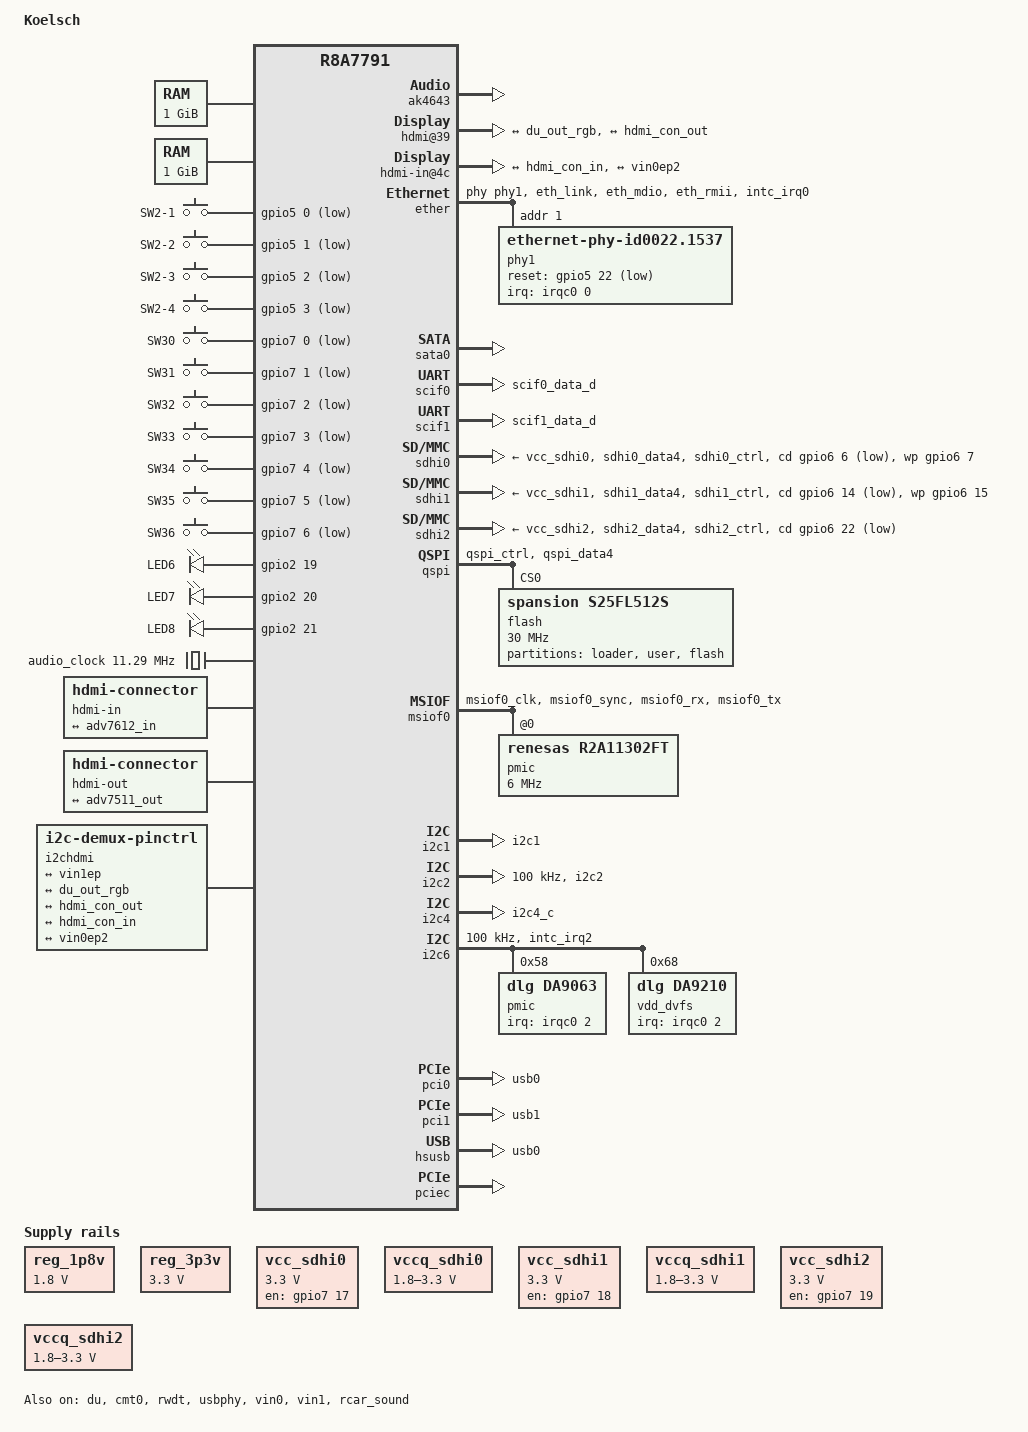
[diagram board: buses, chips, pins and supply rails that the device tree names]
// SPDX-License-Identifier: GPL-2.0
/*
 * Device Tree Source for the Koelsch board
 *
 * Copyright (C) 2013 Renesas Electronics Corporation
 * Copyright (C) 2013-2014 Renesas Solutions Corp.
 * Copyright (C) 2014 Cogent Embedded, Inc.
 */

/*
 * SSI-AK4643
 *
 * SW1: 1: AK4643
 *      2: CN22
 *      3: ADV7511
 *
 * This command is required when Playback/Capture
 *
 *	amixer set "LINEOUT Mixer DACL" on
 *	amixer set "DVC Out" 100%
 *	amixer set "DVC In" 100%
 *
 * You can use Mute
 *
 *	amixer set "DVC Out Mute" on
 *	amixer set "DVC In Mute" on
 *
 * You can use Volume Ramp
 *
 *	amixer set "DVC Out Ramp Up Rate"   "0.125 dB/64 steps"
 *	amixer set "DVC Out Ramp Down Rate" "0.125 dB/512 steps"
 *	amixer set "DVC Out Ramp" on
 *	aplay xxx.wav &
 *	amixer set "DVC Out"  80%  // Volume Down
 *	amixer set "DVC Out" 100%  // Volume Up
 */

/dts-v1/;
#include "r8a7791.dtsi"
#include <dt-bindings/gpio/gpio.h>
#include <dt-bindings/input/input.h>

/ {
	model = "Koelsch";
	compatible = "renesas,koelsch", "renesas,r8a7791";

	aliases {
		serial0 = &scif0;
		serial1 = &scif1;
		i2c9 = &gpioi2c1;
		i2c10 = &gpioi2c2;
		i2c11 = &gpioi2c4;
		i2c12 = &i2cexio1;
		i2c13 = &i2chdmi;
		i2c14 = &i2cexio4;
		mmc0 = &sdhi0;
		mmc1 = &sdhi1;
		mmc2 = &sdhi2;
	};

	chosen {
		bootargs = "ignore_loglevel rw root=/dev/nfs ip=on";
		stdout-path = "serial0:115200n8";
	};

	memory@40000000 {
		device_type = "memory";
		reg = <0 0x40000000 0 0x40000000>;
	};

	memory@200000000 {
		device_type = "memory";
		reg = <2 0x00000000 0 0x40000000>;
	};

	keyboard {
		compatible = "gpio-keys";

		pinctrl-0 = <&keyboard_pins>;
		pinctrl-names = "default";

		key-1 {
			gpios = <&gpio5 0 GPIO_ACTIVE_LOW>;
			linux,code = <KEY_1>;
			label = "SW2-1";
			wakeup-source;
			debounce-interval = <20>;
		};
		key-2 {
			gpios = <&gpio5 1 GPIO_ACTIVE_LOW>;
			linux,code = <KEY_2>;
			label = "SW2-2";
			wakeup-source;
			debounce-interval = <20>;
		};
		key-3 {
			gpios = <&gpio5 2 GPIO_ACTIVE_LOW>;
			linux,code = <KEY_3>;
			label = "SW2-3";
			wakeup-source;
			debounce-interval = <20>;
		};
		key-4 {
			gpios = <&gpio5 3 GPIO_ACTIVE_LOW>;
			linux,code = <KEY_4>;
			label = "SW2-4";
			wakeup-source;
			debounce-interval = <20>;
		};
		key-a {
			gpios = <&gpio7 0 GPIO_ACTIVE_LOW>;
			linux,code = <KEY_A>;
			label = "SW30";
			wakeup-source;
			debounce-interval = <20>;
		};
		key-b {
			gpios = <&gpio7 1 GPIO_ACTIVE_LOW>;
			linux,code = <KEY_B>;
			label = "SW31";
			wakeup-source;
			debounce-interval = <20>;
		};
		key-c {
			gpios = <&gpio7 2 GPIO_ACTIVE_LOW>;
			linux,code = <KEY_C>;
			label = "SW32";
			wakeup-source;
			debounce-interval = <20>;
		};
		key-d {
			gpios = <&gpio7 3 GPIO_ACTIVE_LOW>;
			linux,code = <KEY_D>;
			label = "SW33";
			wakeup-source;
			debounce-interval = <20>;
		};
		key-e {
			gpios = <&gpio7 4 GPIO_ACTIVE_LOW>;
			linux,code = <KEY_E>;
			label = "SW34";
			wakeup-source;
			debounce-interval = <20>;
		};
		key-f {
			gpios = <&gpio7 5 GPIO_ACTIVE_LOW>;
			linux,code = <KEY_F>;
			label = "SW35";
			wakeup-source;
			debounce-interval = <20>;
		};
		key-g {
			gpios = <&gpio7 6 GPIO_ACTIVE_LOW>;
			linux,code = <KEY_G>;
			label = "SW36";
			wakeup-source;
			debounce-interval = <20>;
		};
	};

	leds {
		compatible = "gpio-leds";
		led6 {
			gpios = <&gpio2 19 GPIO_ACTIVE_HIGH>;
			label = "LED6";
		};
		led7 {
			gpios = <&gpio2 20 GPIO_ACTIVE_HIGH>;
			label = "LED7";
		};
		led8 {
			gpios = <&gpio2 21 GPIO_ACTIVE_HIGH>;
			label = "LED8";
		};
	};

	reg_1p8v: regulator-1v8 {
		compatible = "regulator-fixed";
		regulator-name = "fixed-1.8V";
		regulator-min-microvolt = <1800000>;
		regulator-max-microvolt = <1800000>;
		regulator-boot-on;
		regulator-always-on;
	};

	reg_3p3v: regulator-3v3 {
		compatible = "regulator-fixed";
		regulator-name = "fixed-3.3V";
		regulator-min-microvolt = <3300000>;
		regulator-max-microvolt = <3300000>;
		regulator-boot-on;
		regulator-always-on;
	};

	vcc_sdhi0: regulator-vcc-sdhi0 {
		compatible = "regulator-fixed";

		regulator-name = "SDHI0 Vcc";
		regulator-min-microvolt = <3300000>;
		regulator-max-microvolt = <3300000>;

		gpio = <&gpio7 17 GPIO_ACTIVE_HIGH>;
		enable-active-high;
	};

	vccq_sdhi0: regulator-vccq-sdhi0 {
		compatible = "regulator-gpio";

		regulator-name = "SDHI0 VccQ";
		regulator-min-microvolt = <1800000>;
		regulator-max-microvolt = <3300000>;

		gpios = <&gpio2 12 GPIO_ACTIVE_HIGH>;
		gpios-states = <1>;
		states = <3300000 1>, <1800000 0>;
	};

	vcc_sdhi1: regulator-vcc-sdhi1 {
		compatible = "regulator-fixed";

		regulator-name = "SDHI1 Vcc";
		regulator-min-microvolt = <3300000>;
		regulator-max-microvolt = <3300000>;

		gpio = <&gpio7 18 GPIO_ACTIVE_HIGH>;
		enable-active-high;
	};

	vccq_sdhi1: regulator-vccq-sdhi1 {
		compatible = "regulator-gpio";

		regulator-name = "SDHI1 VccQ";
		regulator-min-microvolt = <1800000>;
		regulator-max-microvolt = <3300000>;

		gpios = <&gpio2 13 GPIO_ACTIVE_HIGH>;
		gpios-states = <1>;
		states = <3300000 1>, <1800000 0>;
	};

	vcc_sdhi2: regulator-vcc-sdhi2 {
		compatible = "regulator-fixed";

		regulator-name = "SDHI2 Vcc";
		regulator-min-microvolt = <3300000>;
		regulator-max-microvolt = <3300000>;

		gpio = <&gpio7 19 GPIO_ACTIVE_HIGH>;
		enable-active-high;
	};

	vccq_sdhi2: regulator-vccq-sdhi2 {
		compatible = "regulator-gpio";

		regulator-name = "SDHI2 VccQ";
		regulator-min-microvolt = <1800000>;
		regulator-max-microvolt = <3300000>;

		gpios = <&gpio2 26 GPIO_ACTIVE_HIGH>;
		gpios-states = <1>;
		states = <3300000 1>, <1800000 0>;
	};

	audio_clock: audio_clock {
		compatible = "fixed-clock";
		#clock-cells = <0>;
		clock-frequency = <11289600>;
	};

	rsnd_ak4643: sound {
		compatible = "simple-audio-card";

		simple-audio-card,format = "left_j";
		simple-audio-card,bitclock-master = <&sndcodec>;
		simple-audio-card,frame-master = <&sndcodec>;

		sndcpu: simple-audio-card,cpu {
			sound-dai = <&rcar_sound>;
		};

		sndcodec: simple-audio-card,codec {
			sound-dai = <&ak4643>;
			clocks = <&audio_clock>;
		};
	};

	hdmi-in {
		compatible = "hdmi-connector";
		type = "a";

		port {
			hdmi_con_in: endpoint {
				remote-endpoint = <&adv7612_in>;
			};
		};
	};

	cec_clock: cec-clock {
		compatible = "fixed-clock";
		#clock-cells = <0>;
		clock-frequency = <12000000>;
	};

	hdmi-out {
		compatible = "hdmi-connector";
		type = "a";

		port {
			hdmi_con_out: endpoint {
				remote-endpoint = <&adv7511_out>;
			};
		};
	};

	x2_clk: x2-clock {
		compatible = "fixed-clock";
		#clock-cells = <0>;
		clock-frequency = <74250000>;
	};

	x13_clk: x13-clock {
		compatible = "fixed-clock";
		#clock-cells = <0>;
		clock-frequency = <148500000>;
	};

	gpioi2c1: i2c-9 {
		#address-cells = <1>;
		#size-cells = <0>;
		compatible = "i2c-gpio";
		status = "disabled";
		scl-gpios = <&gpio7 15 (GPIO_ACTIVE_HIGH | GPIO_OPEN_DRAIN)>;
		sda-gpios = <&gpio7 16 (GPIO_ACTIVE_HIGH | GPIO_OPEN_DRAIN)>;
		i2c-gpio,delay-us = <5>;
	};

	gpioi2c2: i2c-10 {
		#address-cells = <1>;
		#size-cells = <0>;
		compatible = "i2c-gpio";
		status = "disabled";
		scl-gpios = <&gpio2 6 (GPIO_ACTIVE_HIGH | GPIO_OPEN_DRAIN)>;
		sda-gpios = <&gpio2 7 (GPIO_ACTIVE_HIGH | GPIO_OPEN_DRAIN)>;
		i2c-gpio,delay-us = <5>;
	};

	gpioi2c4: i2c-11 {
		#address-cells = <1>;
		#size-cells = <0>;
		compatible = "i2c-gpio";
		status = "disabled";
		scl-gpios = <&gpio7 13 (GPIO_ACTIVE_HIGH | GPIO_OPEN_DRAIN)>;
		sda-gpios = <&gpio7 14 (GPIO_ACTIVE_HIGH | GPIO_OPEN_DRAIN)>;
		i2c-gpio,delay-us = <5>;
	};

	/*
	 * I2C1 is routed to EXIO connector B, pins 64 (SCL) + 66 (SDA).
	 * A fallback to GPIO is provided.
	 */
	i2cexio1: i2c-mux1 {
		compatible = "i2c-demux-pinctrl";
		i2c-parent = <&i2c1>, <&gpioi2c1>;
		i2c-bus-name = "i2c-exio1";
		#address-cells = <1>;
		#size-cells = <0>;
	};

	/*
	 * A fallback to GPIO is provided for I2C2.
	 */
	i2chdmi: i2c-mux2 {
		compatible = "i2c-demux-pinctrl";
		i2c-parent = <&i2c2>, <&gpioi2c2>;
		i2c-bus-name = "i2c-hdmi";
		#address-cells = <1>;
		#size-cells = <0>;

		ak4643: codec@12 {
			compatible = "asahi-kasei,ak4643";
			#sound-dai-cells = <0>;
			reg = <0x12>;
		};

		composite-in@20 {
			compatible = "adi,adv7180";
			reg = <0x20>;

			port {
				adv7180: endpoint {
					bus-width = <8>;
					remote-endpoint = <&vin1ep>;
				};
			};
		};

		hdmi@39 {
			compatible = "adi,adv7511w";
			reg = <0x39>;
			interrupt-parent = <&gpio3>;
			interrupts = <29 IRQ_TYPE_LEVEL_LOW>;
			clocks = <&cec_clock>;
			clock-names = "cec";

			avdd-supply = <&reg_1p8v>;
			dvdd-supply = <&reg_1p8v>;
			pvdd-supply = <&reg_1p8v>;
			dvdd-3v-supply = <&reg_3p3v>;
			bgvdd-supply = <&reg_1p8v>;

			adi,input-depth = <8>;
			adi,input-colorspace = "rgb";
			adi,input-clock = "1x";

			ports {
				#address-cells = <1>;
				#size-cells = <0>;

				port@0 {
					reg = <0>;
					adv7511_in: endpoint {
						remote-endpoint = <&du_out_rgb>;
					};
				};

				port@1 {
					reg = <1>;
					adv7511_out: endpoint {
						remote-endpoint = <&hdmi_con_out>;
					};
				};
			};
		};

		hdmi-in@4c {
			compatible = "adi,adv7612";
			reg = <0x4c>;
			interrupt-parent = <&gpio4>;
			interrupts = <2 IRQ_TYPE_LEVEL_LOW>;
			default-input = <0>;

			ports {
				#address-cells = <1>;
				#size-cells = <0>;

				port@0 {
					reg = <0>;
					adv7612_in: endpoint {
						remote-endpoint = <&hdmi_con_in>;
					};
				};

				port@2 {
					reg = <2>;
					adv7612_out: endpoint {
						remote-endpoint = <&vin0ep2>;
					};
				};
			};
		};

		eeprom@50 {
			compatible = "renesas,r1ex24002", "atmel,24c02";
			reg = <0x50>;
			pagesize = <16>;
		};
	};

	/*
	 * I2C4 is routed to EXIO connector E, pins 37 (SCL) + 39 (SDA).
	 * A fallback to GPIO is provided.
	 */
	i2cexio4: i2c-mux3 {
		compatible = "i2c-demux-pinctrl";
		i2c-parent = <&i2c4>, <&gpioi2c4>;
		i2c-bus-name = "i2c-exio4";
		#address-cells = <1>;
		#size-cells = <0>;
	};
};

&du {
	pinctrl-0 = <&du_pins>;
	pinctrl-names = "default";
	status = "okay";

	clocks = <&cpg CPG_MOD 724>, <&cpg CPG_MOD 723>,
		 <&x13_clk>, <&x2_clk>;
	clock-names = "du.0", "du.1", "dclkin.0", "dclkin.1";

	ports {
		port@0 {
			endpoint {
				remote-endpoint = <&adv7511_in>;
			};
		};
	};
};

&lvds0 {
	ports {
		port@1 {
			lvds_connector: endpoint {
			};
		};
	};
};

&extal_clk {
	clock-frequency = <20000000>;
};

&pfc {
	pinctrl-0 = <&scif_clk_pins>;
	pinctrl-names = "default";

	i2c1_pins: i2c1 {
		groups = "i2c1";
		function = "i2c1";
	};

	i2c2_pins: i2c2 {
		groups = "i2c2";
		function = "i2c2";
	};

	i2c4_pins: i2c4 {
		groups = "i2c4_c";
		function = "i2c4";
	};

	du_pins: du {
		groups = "du_rgb888", "du_sync", "du_disp", "du_clk_out_0";
		function = "du";
	};

	scif0_pins: scif0 {
		groups = "scif0_data_d";
		function = "scif0";
	};

	scif1_pins: scif1 {
		groups = "scif1_data_d";
		function = "scif1";
	};

	scif_clk_pins: scif_clk {
		groups = "scif_clk";
		function = "scif_clk";
	};

	ether_pins: ether {
		groups = "eth_link", "eth_mdio", "eth_rmii";
		function = "eth";
	};

	phy1_pins: phy1 {
		groups = "intc_irq0";
		function = "intc";
	};

	pmic_irq_pins: pmicirq {
		groups = "intc_irq2";
		function = "intc";
	};

	sdhi0_pins: sd0 {
		groups = "sdhi0_data4", "sdhi0_ctrl";
		function = "sdhi0";
		power-source = <3300>;
	};

	sdhi0_pins_uhs: sd0_uhs {
		groups = "sdhi0_data4", "sdhi0_ctrl";
		function = "sdhi0";
		power-source = <1800>;
	};

	sdhi1_pins: sd1 {
		groups = "sdhi1_data4", "sdhi1_ctrl";
		function = "sdhi1";
		power-source = <3300>;
	};

	sdhi1_pins_uhs: sd1_uhs {
		groups = "sdhi1_data4", "sdhi1_ctrl";
		function = "sdhi1";
		power-source = <1800>;
	};

	sdhi2_pins: sd2 {
		groups = "sdhi2_data4", "sdhi2_ctrl";
		function = "sdhi2";
		power-source = <3300>;
	};

	sdhi2_pins_uhs: sd2_uhs {
		groups = "sdhi2_data4", "sdhi2_ctrl";
		function = "sdhi2";
		power-source = <1800>;
	};

	qspi_pins: qspi {
		groups = "qspi_ctrl", "qspi_data4";
		function = "qspi";
	};

	msiof0_pins: msiof0 {
		groups = "msiof0_clk", "msiof0_sync", "msiof0_rx",
				 "msiof0_tx";
		function = "msiof0";
	};

	usb0_pins: usb0 {
		groups = "usb0";
		function = "usb0";
	};

	usb1_pins: usb1 {
		groups = "usb1";
		function = "usb1";
	};

	vin0_pins: vin0 {
		groups = "vin0_data24", "vin0_sync", "vin0_clkenb", "vin0_clk";
		function = "vin0";
	};

	vin1_pins: vin1 {
		groups = "vin1_data8", "vin1_clk";
		function = "vin1";
	};

	sound_pins: sound {
		groups = "ssi0129_ctrl", "ssi0_data", "ssi1_data";
		function = "ssi";
	};

	sound_clk_pins: sound_clk {
		groups = "audio_clk_a";
		function = "audio_clk";
	};

	keyboard_pins: keyboard {
		pins = "GP_5_0", "GP_5_1", "GP_5_2", "GP_5_3";
		bias-pull-up;
	};
};

&ether {
	pinctrl-0 = <&ether_pins>, <&phy1_pins>;
	pinctrl-names = "default";

	phy-handle = <&phy1>;
	renesas,ether-link-active-low;
	status = "okay";

	phy1: ethernet-phy@1 {
		compatible = "ethernet-phy-id0022.1537",
			     "ethernet-phy-ieee802.3-c22";
		reg = <1>;
		interrupt-parent = <&irqc0>;
		interrupts = <0 IRQ_TYPE_LEVEL_LOW>;
		micrel,led-mode = <1>;
		reset-gpios = <&gpio5 22 GPIO_ACTIVE_LOW>;
	};
};

&cmt0 {
	status = "okay";
};

&rwdt {
	timeout-sec = <60>;
	status = "okay";
};

&sata0 {
	status = "okay";
};

&scif0 {
	pinctrl-0 = <&scif0_pins>;
	pinctrl-names = "default";

	status = "okay";
};

&scif1 {
	pinctrl-0 = <&scif1_pins>;
	pinctrl-names = "default";

	status = "okay";
};

&scif_clk {
	clock-frequency = <14745600>;
};

&sdhi0 {
	pinctrl-0 = <&sdhi0_pins>;
	pinctrl-1 = <&sdhi0_pins_uhs>;
	pinctrl-names = "default", "state_uhs";

	vmmc-supply = <&vcc_sdhi0>;
	vqmmc-supply = <&vccq_sdhi0>;
	cd-gpios = <&gpio6 6 GPIO_ACTIVE_LOW>;
	wp-gpios = <&gpio6 7 GPIO_ACTIVE_HIGH>;
	sd-uhs-sdr50;
	sd-uhs-sdr104;
	status = "okay";
};

&sdhi1 {
	pinctrl-0 = <&sdhi1_pins>;
	pinctrl-1 = <&sdhi1_pins_uhs>;
	pinctrl-names = "default", "state_uhs";

	vmmc-supply = <&vcc_sdhi1>;
	vqmmc-supply = <&vccq_sdhi1>;
	cd-gpios = <&gpio6 14 GPIO_ACTIVE_LOW>;
	wp-gpios = <&gpio6 15 GPIO_ACTIVE_HIGH>;
	sd-uhs-sdr50;
	status = "okay";
};

&sdhi2 {
	pinctrl-0 = <&sdhi2_pins>;
	pinctrl-1 = <&sdhi2_pins_uhs>;
	pinctrl-names = "default", "state_uhs";

	vmmc-supply = <&vcc_sdhi2>;
	vqmmc-supply = <&vccq_sdhi2>;
	cd-gpios = <&gpio6 22 GPIO_ACTIVE_LOW>;
	sd-uhs-sdr50;
	status = "okay";
};

&qspi {
	pinctrl-0 = <&qspi_pins>;
	pinctrl-names = "default";

	status = "okay";

	flash: flash@0 {
		compatible = "spansion,s25fl512s", "jedec,spi-nor";
		reg = <0>;
		spi-max-frequency = <30000000>;
		spi-tx-bus-width = <4>;
		spi-rx-bus-width = <4>;
		spi-cpha;
		spi-cpol;
		m25p,fast-read;

		partitions {
			compatible = "fixed-partitions";
			#address-cells = <1>;
			#size-cells = <1>;

			partition@0 {
				label = "loader";
				reg = <0x00000000 0x00080000>;
				read-only;
			};
			partition@80000 {
				label = "user";
				reg = <0x00080000 0x00580000>;
				read-only;
			};
			partition@600000 {
				label = "flash";
				reg = <0x00600000 0x03a00000>;
			};
		};
	};
};

&msiof0 {
	pinctrl-0 = <&msiof0_pins>;
	pinctrl-names = "default";

	status = "okay";

	pmic: pmic@0 {
		compatible = "renesas,r2a11302ft";
		reg = <0>;
		spi-max-frequency = <6000000>;
		spi-cpol;
		spi-cpha;
	};
};

&i2c1 {
	pinctrl-0 = <&i2c1_pins>;
	pinctrl-names = "i2c-exio1";
};

&i2c2 {
	pinctrl-0 = <&i2c2_pins>;
	pinctrl-names = "i2c-hdmi";

	clock-frequency = <100000>;
};

&i2c4 {
	pinctrl-0 = <&i2c4_pins>;
	pinctrl-names = "i2c-exio4";
};

&i2c6 {
	pinctrl-names = "default";
	pinctrl-0 = <&pmic_irq_pins>;
	status = "okay";
	clock-frequency = <100000>;

	pmic@58 {
		compatible = "dlg,da9063";
		reg = <0x58>;
		interrupt-parent = <&irqc0>;
		interrupts = <2 IRQ_TYPE_LEVEL_LOW>;
		interrupt-controller;

		rtc {
			compatible = "dlg,da9063-rtc";
		};

		watchdog {
			compatible = "dlg,da9063-watchdog";
		};
	};

	vdd_dvfs: regulator@68 {
		compatible = "dlg,da9210";
		reg = <0x68>;
		interrupt-parent = <&irqc0>;
		interrupts = <2 IRQ_TYPE_LEVEL_LOW>;

		regulator-min-microvolt = <1000000>;
		regulator-max-microvolt = <1000000>;
		regulator-boot-on;
		regulator-always-on;
	};
};

&pci0 {
	status = "okay";
	pinctrl-0 = <&usb0_pins>;
	pinctrl-names = "default";
};

&pci1 {
	status = "okay";
	pinctrl-0 = <&usb1_pins>;
	pinctrl-names = "default";
};

&hsusb {
	status = "okay";
	pinctrl-0 = <&usb0_pins>;
	pinctrl-names = "default";
	renesas,enable-gpio = <&gpio5 31 GPIO_ACTIVE_HIGH>;
};

&usbphy {
	status = "okay";
};

&pcie_bus_clk {
	clock-frequency = <100000000>;
};

&pciec {
	status = "okay";
};

&cpu0 {
	cpu0-supply = <&vdd_dvfs>;
};

/* HDMI video input */
&vin0 {
	status = "okay";
	pinctrl-0 = <&vin0_pins>;
	pinctrl-names = "default";

	port {
		vin0ep2: endpoint {
			remote-endpoint = <&adv7612_out>;
			bus-width = <24>;
			hsync-active = <0>;
			vsync-active = <0>;
			pclk-sample = <1>;
			data-active = <1>;
		};
	};
};

/* composite video input */
&vin1 {
	status = "okay";
	pinctrl-0 = <&vin1_pins>;
	pinctrl-names = "default";

	port {
		vin1ep: endpoint {
			remote-endpoint = <&adv7180>;
			bus-width = <8>;
		};
	};
};

&rcar_sound {
	pinctrl-0 = <&sound_pins>, <&sound_clk_pins>;
	pinctrl-names = "default";

	/* Single DAI */
	#sound-dai-cells = <0>;

	status = "okay";

	rcar_sound,dai {
		dai0 {
			playback = <&ssi0>, <&src2>, <&dvc0>;
			capture  = <&ssi1>, <&src3>, <&dvc1>;
		};
	};
};

&ssi1 {
	shared-pin;
};
